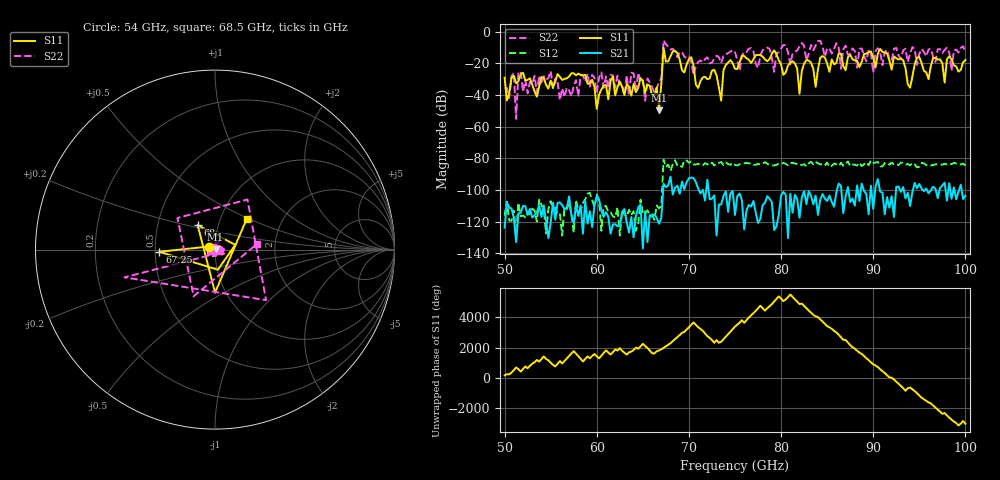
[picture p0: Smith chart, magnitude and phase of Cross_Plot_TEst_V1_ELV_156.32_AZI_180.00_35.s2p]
! 11/25/2026 1:31:42 PM
! C:\ANRITSUVNA\TEMP\TEMP.S2P
! CHANNEL.1
! TR.MEASUREMENT
! RAW.DATA
# HZ S RI R 50.0
! FREQ.HZ  S11RE  S11IM  S21RE  S21IM  S12RE  S12IM  S22RE  S22IM
!; PortSelection: Port_12
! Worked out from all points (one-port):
!   201 points, 50 GHz to 100 GHz, reference 50 ohm
!   lowest |S11| = -49.7 dB at 66.75 GHz (marker M1), VSWR 1.01, Z = 50.3 + j0.0727 ohm
!   |S11| at or under -10 dB: start of sweep to end of sweep
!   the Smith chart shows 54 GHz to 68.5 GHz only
!   S11 on the Smith chart (normalised r, x): 54 GHz: 0.93, +0.03; 67.25 GHz: 0.53, -0.01; 68 GHz: 0.80, +0.22; 68.5 GHz: 1.33, +0.49
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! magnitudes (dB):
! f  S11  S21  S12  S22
! 50 GHz  -29.1  -123.9  -116.3  -35.6
! 51 GHz  -27.9  -117.7  -113.1  -26.0
! 51.25 GHz  -32.6  -133.0  -128.0  -55.1
! 51.5 GHz  -31.2  -114.8  -108.0  -25.7
! 54 GHz  -28.7  -117.1  -109.5  -33.3
! 58.5 GHz  -27.7  -127.7  -108.3  -27.6
! 60 GHz  -48.8  -103.8  -103.0  -38.5
! 61.75 GHz  -28.4  -121.9  -116.6  -27.7
! 66.75 GHz  -49.7  -121.4  -111.7  -31.9
! 67.25 GHz  -10.2  -96.2  -80.9  -5.6
! 68 GHz  -15.5  -91.6  -88.1  -11.3
! 68.5 GHz  -12.1  -98.6  -81.2  -12.6
! 73.5 GHz  -43.6  -109.2  -82.4  -19.7
! 73.75 GHz  -24.4  -103.9  -84.3  -15.4
! 75 GHz  -23.5  -115.9  -84.2  -13.0
! 79.25 GHz  -11.8  -125.4  -84.6  -25.4
! 82 GHz  -39.3  -117.6  -84.4  -9.2
! 83.5 GHz  -23.5  -109.2  -83.8  -11.8
! 91.75 GHz  -18.1  -111.3  -84.0  -17.6
! 94 GHz  -35.4  -110.2  -84.4  -13.7
! 94.75 GHz  -16.5  -99.0  -85.8  -21.0
! 100 GHz  -17.9  -103.6  -84.4  -12.8
